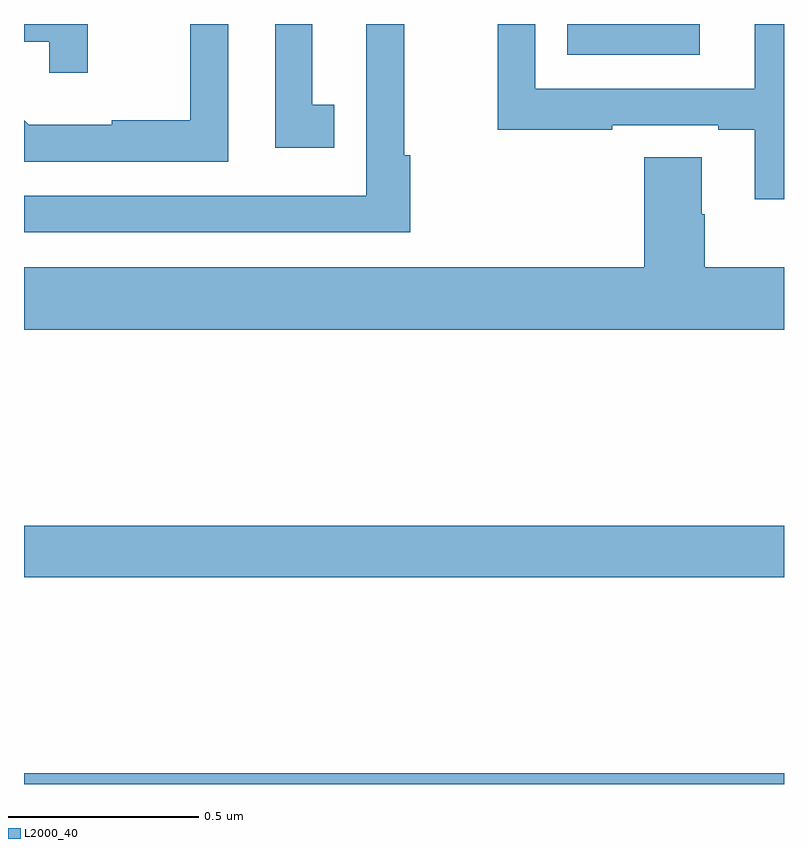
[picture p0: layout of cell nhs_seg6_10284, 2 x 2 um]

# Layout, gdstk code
import gdstk
lib = gdstk.Library(unit=1e-6, precision=1e-09)
def R(c, l, rs):  # rectangles x0, y0, x1, y1
    for r in rs: c.add(gdstk.rectangle(r[:2], r[2:], *l))
def P(c, l, *ps):  # polygons
    for p in ps: c.add(gdstk.Polygon(p, *l))
L2000_40 = (2000, 40)

nhs_seg6_10284 = lib.new_cell('nhs_seg6_10284')
R(nhs_seg6_10284, L2000_40, [(245,919.5,247,919.528), (245,920.044,247,920.18), (246.43,921.419,246.778,921.5)])
P(nhs_seg6_10284, L2000_40, [(246.017,921.155),(246,921.155),(246,921.5),(245.9,921.5),(245.9,921.376),(245.901,921.376),(245.901,921.048),(245,921.048),(245,920.952),(246.017,920.952)],
  [(245.168,921.5),(245,921.5),(245,921.453),(245.067,921.453),(245.067,921.372),(245.168,921.372)],
  [(247,921.5),(246.923,921.5),(246.923,921.33),(246.345,921.33),(246.345,921.5),(246.247,921.5),(246.247,921.222),(246.548,921.222),(246.548,921.234),(246.827,921.234),(246.827,921.222),(246.923,921.222),(246.923,921.039),(247,921.039)],
  [(245.816,921.287),(245.758,921.287),(245.758,921.5),(245.661,921.5),(245.661,921.174),(245.816,921.174)],
  [(245.538,921.5),(245.437,921.5),(245.437,921.247),(245.231,921.247),(245.231,921.235),(245.012,921.235),(245,921.247),(245,921.138),(245.538,921.138)],
  [(247,920.86),(246.792,920.86),(246.792,920.999),(246.784,920.999),(246.784,921.149),(246.632,921.149),(246.632,920.86),(245,920.86),(245,920.696),(247,920.696)])

lib.write_gds('nhs_seg6_10284.gds')
